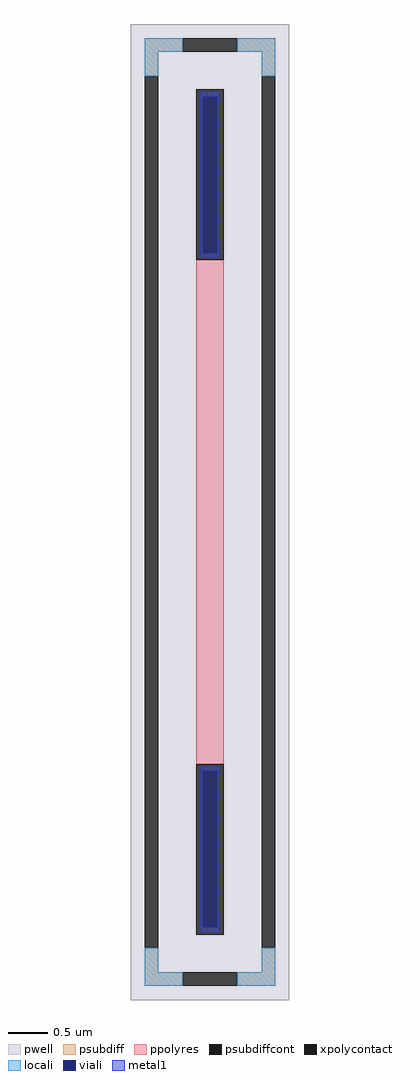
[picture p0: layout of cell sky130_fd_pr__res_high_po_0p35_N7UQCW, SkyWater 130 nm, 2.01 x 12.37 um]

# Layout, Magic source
magic
tech sky130B
magscale 1 2
<< pwell >>
rect -201 -1237 201 1237
<< psubdiff >>
rect -165 1167 -69 1201
rect 69 1167 165 1201
rect -165 1105 -131 1167
rect 131 1105 165 1167
rect -165 -1167 -131 -1105
rect 131 -1167 165 -1105
rect -165 -1201 -69 -1167
rect 69 -1201 165 -1167
<< psubdiffcont >>
rect -69 1167 69 1201
rect -165 -1105 -131 1105
rect 131 -1105 165 1105
rect -69 -1201 69 -1167
<< xpolycontact >>
rect -35 639 35 1071
rect -35 -1071 35 -639
<< ppolyres >>
rect -35 -639 35 639
<< locali >>
rect -165 1167 -69 1201
rect 69 1167 165 1201
rect -165 1105 -131 1167
rect 131 1105 165 1167
rect -165 -1167 -131 -1105
rect 131 -1167 165 -1105
rect -165 -1201 -69 -1167
rect 69 -1201 165 -1167
<< viali >>
rect -19 656 19 1053
rect -19 -1053 19 -656
<< metal1 >>
rect -25 1053 25 1065
rect -25 656 -19 1053
rect 19 656 25 1053
rect -25 644 25 656
rect -25 -656 25 -644
rect -25 -1053 -19 -656
rect 19 -1053 25 -656
rect -25 -1065 25 -1053
<< properties >>
string FIXED_BBOX -148 -1184 148 1184
string gencell sky130_fd_pr__res_high_po_0p35
string library sky130
string parameters w 0.350 l 6.55 m 1 nx 1 wmin 0.350 lmin 0.50 rho 319.8 val 7.098k dummy 0 dw 0.0 term 194.82 sterm 0.0 caplen 0 guard 1 glc 1 grc 1 gtc 1 gbc 1 compatible {sky130_fd_pr__res_high_po_0p35  sky130_fd_pr__res_high_po_0p69 sky130_fd_pr__res_high_po_1p41  sky130_fd_pr__res_high_po_2p85 sky130_fd_pr__res_high_po_5p73} snake 0 full_metal 1 wmax 0.350 vias 1 n_guard 0 hv_guard 0 viagb 0 viagt 0 viagl 0 viagr 0
<< end >>
